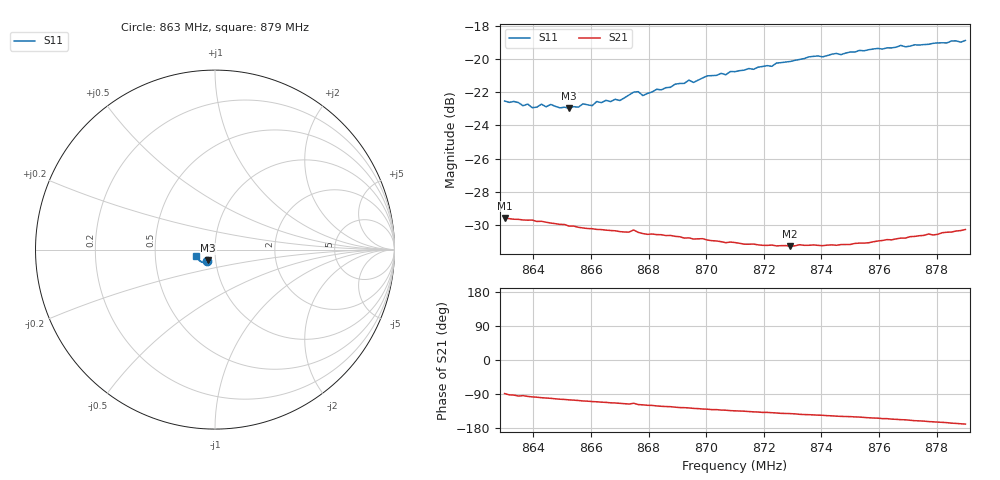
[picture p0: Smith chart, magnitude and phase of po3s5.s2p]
# HZ S RI R 50
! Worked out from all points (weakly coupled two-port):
!   101 points, 863 MHz to 879 MHz, reference 50 ohm
!   highest |S21| = -29.57 dB at 863 MHz (marker M1); lowest = -31.3 dB at 872.92 MHz (marker M2)
!   lowest |S11| = -23.0 dB at 865.24 MHz (marker M3), VSWR 1.15, Z = 46.1 - j5.59 ohm
!   |S11| at or under -10 dB: start of sweep to end of sweep
!   S12 and S22 are empty: the file has one direction only
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8.63e8  -0.0432 -0.061  0.000847 -0.0332  0 0  0 0
8.6364e8  -0.041 -0.0595  -0.00233 -0.0327  0 0  0 0
8.638e8  -0.0421 -0.0599  -0.00341 -0.0326  0 0  0 0
8.6396e8  -0.0403 -0.0589  -0.00418 -0.0325  0 0  0 0
8.6428e8  -0.0399 -0.0613  -0.00533 -0.032  0 0  0 0
8.6524e8  -0.0374 -0.0604  -0.00823 -0.0303  0 0  0 0
8.6572e8  -0.0371 -0.0632  -0.00962 -0.0295  0 0  0 0
8.6604e8  -0.0407 -0.0598  -0.0104 -0.0291  0 0  0 0
8.662e8  -0.0385 -0.0638  -0.0107 -0.0288  0 0  0 0
8.67e8  -0.0377 -0.0648  -0.0125 -0.0275  0 0  0 0
8.6748e8  -0.0386 -0.0694  -0.0125 -0.0279  0 0  0 0
8.6764e8  -0.0404 -0.0687  -0.0139 -0.0267  0 0  0 0
8.678e8  -0.0395 -0.0668  -0.0142 -0.0262  0 0  0 0
8.6844e8  -0.0409 -0.0696  -0.0158 -0.025  0 0  0 0
8.694e8  -0.0467 -0.0726  -0.0172 -0.0233  0 0  0 0
8.6956e8  -0.0471 -0.0707  -0.0176 -0.0227  0 0  0 0
8.7004e8  -0.0492 -0.0741  -0.0183 -0.0219  0 0  0 0
8.71e8  -0.0552 -0.0731  -0.0195 -0.0201  0 0  0 0
8.7292e8  -0.0678 -0.0712  -0.0214 -0.017  0 0  0 0
8.7372e8  -0.0742 -0.0697  -0.0226 -0.0159  0 0  0 0
8.7644e8  -0.0928 -0.0552  -0.0261 -0.0116  0 0  0 0
8.79e8  -0.1081 -0.0351  -0.0301 -0.00579  0 0  0 0
